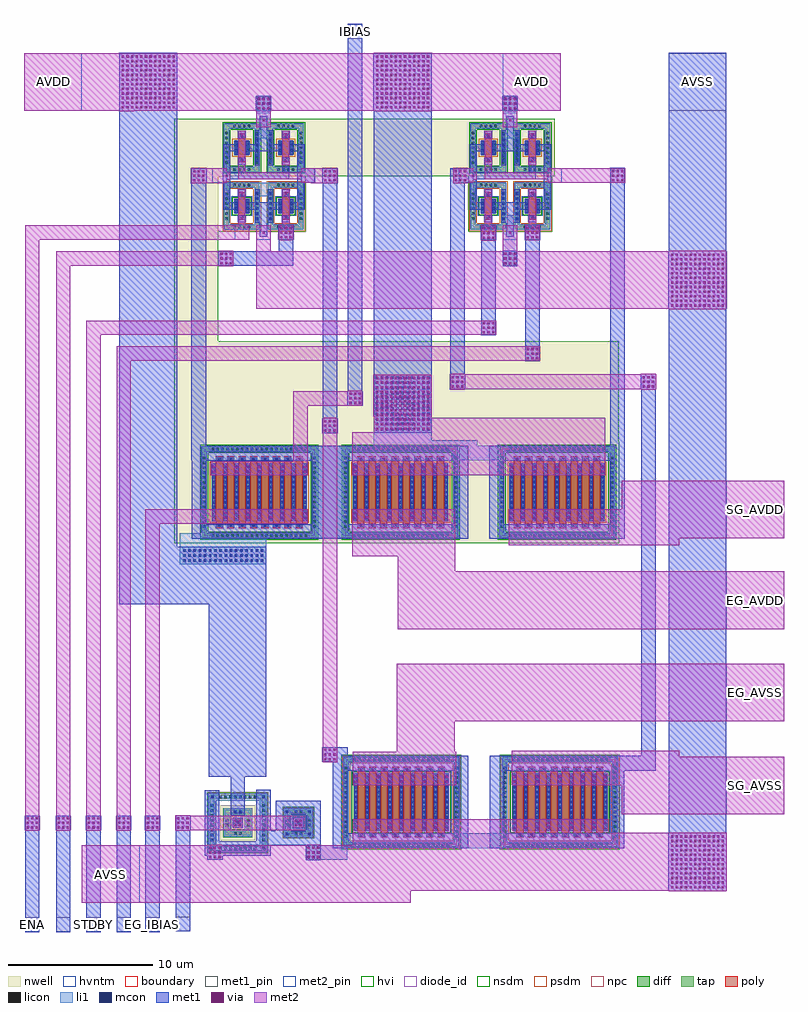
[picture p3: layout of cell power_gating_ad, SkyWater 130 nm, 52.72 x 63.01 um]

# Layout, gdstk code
import gdstk
lib = gdstk.Library(unit=1e-6, precision=1e-09)
def R(c, l, rs):  # rectangles x0, y0, x1, y1
    for r in rs: c.add(gdstk.rectangle(r[:2], r[2:], *l))
def A(c, l, x, y, w, h, nx, ny, dx, dy):  # array of equal rectangles
    R(c, l, [(x+i*dx, y+j*dy, x+i*dx+w, y+j*dy+h) for i in range(nx) for j in range(ny)])
nwell = (64, 20)
diff = (65, 20)
tap = (65, 44)
poly = (66, 20)
licon = (66, 44)
li1 = (67, 20)
mcon = (67, 44)
met1_pin = (68, 16)
met1 = (68, 20)
via = (68, 44)
met2_pin = (69, 16)
met2 = (69, 20)
hvi = (75, 20)
diode_id = (81, 23)
nsdm = (93, 44)
psdm = (94, 20)
npc = (95, 20)
hvntm = (125, 20)
boundary = (235, 4)

sky130_fd_pr__pfet_g5v0d = lib.new_cell('sky130_fd_pr__pfet_g5v0d10v5_KL7ZY6')
R(sky130_fd_pr__pfet_g5v0d, nwell, [(-4.305,-3.485,4.305,3.485)])
R(sky130_fd_pr__pfet_g5v0d, diff, [(-3.305,-2,3.305,2)])
R(sky130_fd_pr__pfet_g5v0d, tap, [(-3.975,-3.155,3.975,-2.865), (-3.975,-2.865,-3.685,2.865), (3.685,-2.865,3.975,2.865), (-3.975,2.865,3.975,3.155)])
A(sky130_fd_pr__pfet_g5v0d, poly, -3.015, -2.485, 0.5, 4.97, 8, 1, 0.79, 0)
A(sky130_fd_pr__pfet_g5v0d, licon, -3.315, -3.095, 0.17, 0.17, 20, 2, 0.34, 6.02)
A(sky130_fd_pr__pfet_g5v0d, licon, -3.915, -2.465, 0.17, 0.17, 1, 15, 0, 0.34)
A(sky130_fd_pr__pfet_g5v0d, licon, 3.745, -2.465, 0.17, 0.17, 1, 15, 0, 0.34)
A(sky130_fd_pr__pfet_g5v0d, licon, -2.85, -2.405, 0.17, 0.17, 8, 2, 0.79, 4.64)
A(sky130_fd_pr__pfet_g5v0d, licon, -3.245, -1.785, 0.17, 0.17, 9, 11, 0.79, 0.34)
A(sky130_fd_pr__pfet_g5v0d, li1, -3.015, -2.405, 0.5, 0.17, 8, 2, 0.79, 4.64)
A(sky130_fd_pr__pfet_g5v0d, li1, -3.245, -2.02, 0.17, 4.04, 9, 1, 0.79, 0)
R(sky130_fd_pr__pfet_g5v0d, li1, [(-3.915,-3.095,3.915,-2.925), (-3.915,-2.925,-3.745,2.925), (3.745,-2.925,3.915,2.925), (-3.915,2.925,3.915,3.095)])
A(sky130_fd_pr__pfet_g5v0d, mcon, -2.85, -2.405, 0.17, 0.17, 8, 2, 0.79, 4.64)
A(sky130_fd_pr__pfet_g5v0d, mcon, -3.245, -1.885, 0.17, 0.17, 9, 11, 0.79, 0.36)
A(sky130_fd_pr__pfet_g5v0d, met1, -2.995, -2.435, 0.46, 0.23, 8, 2, 0.79, 4.64)
A(sky130_fd_pr__pfet_g5v0d, met1, -3.275, -2, 0.23, 4, 9, 1, 0.79, 0)
R(sky130_fd_pr__pfet_g5v0d, hvi, [(-4.305,-3.485,4.305,3.485)])
R(sky130_fd_pr__pfet_g5v0d, nsdm, [(-4.1,-3.28,4.1,-2.74), (-4.1,-2.74,-3.56,2.74), (3.56,-2.74,4.1,2.74), (-4.1,2.74,4.1,3.28)])
R(sky130_fd_pr__pfet_g5v0d, psdm, [(-3.43,-2.125,3.43,2.125)])
A(sky130_fd_pr__pfet_g5v0d, npc, -2.95, -2.505, 0.37, 0.37, 8, 2, 0.79, 4.64)
R(sky130_fd_pr__pfet_g5v0d, boundary, [(-3.83,-3.01,3.83,3.01)])

sky130_fd_pr__nfet_g5v0d = lib.new_cell('sky130_fd_pr__nfet_g5v0d10v5_CPEQJZ')
R(sky130_fd_pr__nfet_g5v0d, diff, [(-3.305,-2,3.305,2)])
R(sky130_fd_pr__nfet_g5v0d, tap, [(-3.975,-3.11,3.975,-2.82), (-3.975,-2.82,-3.685,2.82), (3.685,-2.82,3.975,2.82), (-3.975,2.82,3.975,3.11)])
A(sky130_fd_pr__nfet_g5v0d, poly, -3.015, -2.44, 0.5, 4.88, 8, 1, 0.79, 0)
A(sky130_fd_pr__nfet_g5v0d, licon, -3.315, -3.05, 0.17, 0.17, 20, 2, 0.34, 5.93)
A(sky130_fd_pr__nfet_g5v0d, licon, -3.915, -2.465, 0.17, 0.17, 1, 15, 0, 0.34)
A(sky130_fd_pr__nfet_g5v0d, licon, 3.745, -2.465, 0.17, 0.17, 1, 15, 0, 0.34)
A(sky130_fd_pr__nfet_g5v0d, licon, -2.85, -2.36, 0.17, 0.17, 8, 2, 0.79, 4.55)
A(sky130_fd_pr__nfet_g5v0d, licon, -3.245, -1.785, 0.17, 0.17, 9, 11, 0.79, 0.34)
A(sky130_fd_pr__nfet_g5v0d, li1, -3.015, -2.36, 0.5, 0.17, 8, 2, 0.79, 4.55)
A(sky130_fd_pr__nfet_g5v0d, li1, -3.245, -2.02, 0.17, 4.04, 9, 1, 0.79, 0)
R(sky130_fd_pr__nfet_g5v0d, li1, [(-3.915,-3.05,3.915,-2.88), (-3.915,-2.88,-3.745,2.88), (3.745,-2.88,3.915,2.88), (-3.915,2.88,3.915,3.05)])
A(sky130_fd_pr__nfet_g5v0d, mcon, -2.85, -2.36, 0.17, 0.17, 8, 2, 0.79, 4.55)
A(sky130_fd_pr__nfet_g5v0d, mcon, -3.245, -1.885, 0.17, 0.17, 9, 11, 0.79, 0.36)
A(sky130_fd_pr__nfet_g5v0d, met1, -2.995, -2.39, 0.46, 0.23, 8, 2, 0.79, 4.55)
A(sky130_fd_pr__nfet_g5v0d, met1, -3.275, -2, 0.23, 4, 9, 1, 0.79, 0)
R(sky130_fd_pr__nfet_g5v0d, hvi, [(-4.16,-3.295,4.16,3.295)])
R(sky130_fd_pr__nfet_g5v0d, nsdm, [(-3.43,-2.125,3.43,2.125)])
R(sky130_fd_pr__nfet_g5v0d, psdm, [(-4.1,-3.235,4.1,-2.695), (-4.1,-2.695,-3.56,2.695), (3.56,-2.695,4.1,2.695), (-4.1,2.695,4.1,3.235)])
A(sky130_fd_pr__nfet_g5v0d, npc, -2.95, -2.46, 0.37, 0.37, 8, 2, 0.79, 4.55)
R(sky130_fd_pr__nfet_g5v0d, hvntm, [(-3.49,-2.185,3.49,2.185)])
R(sky130_fd_pr__nfet_g5v0d, boundary, [(-3.83,-2.965,3.83,2.965)])

sky130_fd_pr__diode_pw2n = lib.new_cell('sky130_fd_pr__diode_pw2nd_11v0_FT76RJ')
R(sky130_fd_pr__diode_pw2n, diff, [(-0.225,-0.225,0.225,0.225)])
R(sky130_fd_pr__diode_pw2n, tap, [(-0.905,-0.905,0.905,-0.615), (-0.905,-0.615,-0.615,0.615), (0.615,-0.615,0.905,0.615), (-0.905,0.615,0.905,0.905)])
R(sky130_fd_pr__diode_pw2n, licon, [(-0.255,-0.845,-0.085,-0.675), (0.085,-0.845,0.255,-0.675), (-0.845,-0.255,-0.675,-0.085), (0.675,-0.255,0.845,-0.085), (-0.085,-0.085,0.085,0.085), (-0.845,0.085,-0.675,0.255), (0.675,0.085,0.845,0.255), (-0.255,0.675,-0.085,0.845), (0.085,0.675,0.255,0.845)])
R(sky130_fd_pr__diode_pw2n, li1, [(-0.845,-0.845,0.845,-0.675), (-0.845,-0.675,-0.675,0.675), (0.675,-0.675,0.845,0.675), (-0.245,-0.165,0.245,0.165), (-0.845,0.675,0.845,0.845)])
R(sky130_fd_pr__diode_pw2n, mcon, [(-0.085,-0.085,0.085,0.085)])
R(sky130_fd_pr__diode_pw2n, met1, [(-0.225,-0.195,0.225,0.195)])
R(sky130_fd_pr__diode_pw2n, hvi, [(-1.09,-1.09,1.09,1.09)])
R(sky130_fd_pr__diode_pw2n, diode_id, [(-0.225,-0.225,0.225,0.225)])
R(sky130_fd_pr__diode_pw2n, nsdm, [(-0.35,-0.35,0.35,0.35)])
R(sky130_fd_pr__diode_pw2n, psdm, [(-1.03,-1.03,1.03,-0.49), (-1.03,-0.49,-0.49,0.49), (0.49,-0.49,1.03,0.49), (-1.03,0.49,1.03,1.03)])
R(sky130_fd_pr__diode_pw2n, hvntm, [(-0.41,-0.41,0.41,0.41)])
R(sky130_fd_pr__diode_pw2n, boundary, [(-0.76,-0.76,0.76,0.76)])

sky130_fd_pr__diode_pd2n = lib.new_cell('sky130_fd_pr__diode_pd2nw_11v0_K4SERG')
R(sky130_fd_pr__diode_pd2n, nwell, [(-1.215,-1.215,1.215,1.215)])
R(sky130_fd_pr__diode_pd2n, diff, [(-0.225,-0.225,0.225,0.225)])
R(sky130_fd_pr__diode_pd2n, tap, [(-1.935,-1.935,1.935,-1.645), (-1.935,-1.645,-1.645,1.645), (1.645,-1.645,1.935,1.645), (-0.885,-0.885,0.885,-0.595), (-0.885,-0.595,-0.595,0.595), (0.595,-0.595,0.885,0.595), (-0.885,0.595,0.885,0.885), (-1.935,1.645,1.935,1.935)])
A(sky130_fd_pr__diode_pd2n, licon, -1.275, -1.875, 0.17, 0.17, 8, 2, 0.34, 3.58)
A(sky130_fd_pr__diode_pd2n, licon, -1.875, -1.275, 0.17, 0.17, 1, 8, 0, 0.34)
A(sky130_fd_pr__diode_pd2n, licon, 1.705, -1.275, 0.17, 0.17, 1, 8, 0, 0.34)
R(sky130_fd_pr__diode_pd2n, licon, [(-0.255,-0.825,-0.085,-0.655), (0.085,-0.825,0.255,-0.655), (-0.825,-0.255,-0.655,-0.085), (0.655,-0.255,0.825,-0.085), (-0.085,-0.085,0.085,0.085), (-0.825,0.085,-0.655,0.255), (0.655,0.085,0.825,0.255), (-0.255,0.655,-0.085,0.825), (0.085,0.655,0.255,0.825)])
R(sky130_fd_pr__diode_pd2n, li1, [(-1.875,-1.875,1.875,-1.705), (-1.875,-1.705,-1.705,1.705), (1.705,-1.705,1.875,1.705), (-0.825,-0.825,0.825,-0.655), (-0.825,-0.655,-0.655,0.655), (0.655,-0.655,0.825,0.655), (-0.245,-0.165,0.245,0.165), (-0.825,0.655,0.825,0.825), (-1.875,1.705,1.875,1.875)])
R(sky130_fd_pr__diode_pd2n, mcon, [(-0.085,-0.085,0.085,0.085)])
R(sky130_fd_pr__diode_pd2n, met1, [(-0.225,-0.195,0.225,0.195)])
R(sky130_fd_pr__diode_pd2n, hvi, [(-2.12,-2.12,2.12,2.12)])
R(sky130_fd_pr__diode_pd2n, diode_id, [(-0.225,-0.225,0.225,0.225)])
R(sky130_fd_pr__diode_pd2n, nsdm, [(-1.01,-1.01,1.01,-0.47), (-1.01,-0.47,-0.47,0.47), (0.47,-0.47,1.01,0.47), (-1.01,0.47,1.01,1.01)])
R(sky130_fd_pr__diode_pd2n, psdm, [(-2.06,-2.06,2.06,-1.52), (-2.06,-1.52,-1.52,1.52), (1.52,-1.52,2.06,1.52), (-0.35,-0.35,0.35,0.35), (-2.06,1.52,2.06,2.06)])
R(sky130_fd_pr__diode_pd2n, boundary, [(-0.74,-0.74,0.74,0.74)])

c_sky130_fd_pr__pfet_g5v0d = lib.new_cell('sky130_fd_pr__pfet_g5v0d10v5_KLAZY6')
R(c_sky130_fd_pr__pfet_g5v0d, nwell, [(-1.54,-1.985,1.54,1.985)])
R(c_sky130_fd_pr__pfet_g5v0d, diff, [(-0.54,-0.5,0.54,0.5)])
R(c_sky130_fd_pr__pfet_g5v0d, tap, [(-1.21,-1.655,1.21,-1.365), (-1.21,-1.365,-0.92,1.365), (0.92,-1.365,1.21,1.365), (-1.21,1.365,1.21,1.655)])
R(c_sky130_fd_pr__pfet_g5v0d, poly, [(-0.25,-0.985,0.25,0.985)])
A(c_sky130_fd_pr__pfet_g5v0d, licon, -0.595, -1.595, 0.17, 0.17, 4, 2, 0.34, 3.02)
A(c_sky130_fd_pr__pfet_g5v0d, licon, -1.15, -1.105, 0.17, 0.17, 1, 7, 0, 0.34)
A(c_sky130_fd_pr__pfet_g5v0d, licon, 0.98, -1.105, 0.17, 0.17, 1, 7, 0, 0.34)
A(c_sky130_fd_pr__pfet_g5v0d, licon, -0.48, -0.425, 0.17, 0.17, 1, 3, 0, 0.34)
A(c_sky130_fd_pr__pfet_g5v0d, licon, 0.31, -0.425, 0.17, 0.17, 1, 3, 0, 0.34)
R(c_sky130_fd_pr__pfet_g5v0d, licon, [(-0.085,-0.905,0.085,-0.735), (-0.085,0.735,0.085,0.905)])
R(c_sky130_fd_pr__pfet_g5v0d, li1, [(-1.15,-1.595,1.15,-1.425), (-1.15,-1.425,-0.98,1.425), (0.98,-1.425,1.15,1.425), (-0.25,-0.905,0.25,-0.735), (-0.48,-0.52,-0.31,0.52), (0.31,-0.52,0.48,0.52), (-0.25,0.735,0.25,0.905), (-1.15,1.425,1.15,1.595)])
R(c_sky130_fd_pr__pfet_g5v0d, mcon, [(-0.085,-0.905,0.085,-0.735), (-0.48,-0.265,-0.31,-0.095), (0.31,-0.265,0.48,-0.095), (-0.48,0.095,-0.31,0.265), (0.31,0.095,0.48,0.265), (-0.085,0.735,0.085,0.905)])
R(c_sky130_fd_pr__pfet_g5v0d, met1, [(-0.23,-0.935,0.23,-0.705), (-0.51,-0.5,-0.28,0.5), (0.28,-0.5,0.51,0.5), (-0.23,0.705,0.23,0.935)])
R(c_sky130_fd_pr__pfet_g5v0d, hvi, [(-1.54,-1.985,1.54,1.985)])
R(c_sky130_fd_pr__pfet_g5v0d, nsdm, [(-1.335,-1.78,1.335,-1.24), (-1.335,-1.24,-0.795,1.24), (0.795,-1.24,1.335,1.24), (-1.335,1.24,1.335,1.78)])
R(c_sky130_fd_pr__pfet_g5v0d, psdm, [(-0.665,-0.625,0.665,0.625)])
R(c_sky130_fd_pr__pfet_g5v0d, npc, [(-0.185,-1.005,0.185,-0.635), (-0.185,0.635,0.185,1.005)])
R(c_sky130_fd_pr__pfet_g5v0d, boundary, [(-1.065,-1.51,1.065,1.51)])

c_sky130_fd_pr__nfet_g5v0d = lib.new_cell('sky130_fd_pr__nfet_g5v0d10v5_UNEQ2N')
R(c_sky130_fd_pr__nfet_g5v0d, diff, [(-0.54,-0.5,0.54,0.5)])
R(c_sky130_fd_pr__nfet_g5v0d, tap, [(-1.21,-1.61,1.21,-1.32), (-1.21,-1.32,-0.92,1.32), (0.92,-1.32,1.21,1.32), (-1.21,1.32,1.21,1.61)])
R(c_sky130_fd_pr__nfet_g5v0d, poly, [(-0.25,-0.94,0.25,0.94)])
A(c_sky130_fd_pr__nfet_g5v0d, licon, -0.595, -1.55, 0.17, 0.17, 4, 2, 0.34, 2.93)
A(c_sky130_fd_pr__nfet_g5v0d, licon, -1.15, -0.935, 0.17, 0.17, 1, 6, 0, 0.34)
A(c_sky130_fd_pr__nfet_g5v0d, licon, 0.98, -0.935, 0.17, 0.17, 1, 6, 0, 0.34)
A(c_sky130_fd_pr__nfet_g5v0d, licon, -0.48, -0.425, 0.17, 0.17, 1, 3, 0, 0.34)
A(c_sky130_fd_pr__nfet_g5v0d, licon, 0.31, -0.425, 0.17, 0.17, 1, 3, 0, 0.34)
R(c_sky130_fd_pr__nfet_g5v0d, licon, [(-0.085,-0.86,0.085,-0.69), (-0.085,0.69,0.085,0.86)])
R(c_sky130_fd_pr__nfet_g5v0d, li1, [(-1.15,-1.55,1.15,-1.38), (-1.15,-1.38,-0.98,1.38), (0.98,-1.38,1.15,1.38), (-0.25,-0.86,0.25,-0.69), (-0.48,-0.52,-0.31,0.52), (0.31,-0.52,0.48,0.52), (-0.25,0.69,0.25,0.86), (-1.15,1.38,1.15,1.55)])
R(c_sky130_fd_pr__nfet_g5v0d, mcon, [(-0.085,-0.86,0.085,-0.69), (-0.48,-0.265,-0.31,-0.095), (0.31,-0.265,0.48,-0.095), (-0.48,0.095,-0.31,0.265), (0.31,0.095,0.48,0.265), (-0.085,0.69,0.085,0.86)])
R(c_sky130_fd_pr__nfet_g5v0d, met1, [(-0.23,-0.89,0.23,-0.66), (-0.51,-0.5,-0.28,0.5), (0.28,-0.5,0.51,0.5), (-0.23,0.66,0.23,0.89)])
R(c_sky130_fd_pr__nfet_g5v0d, hvi, [(-1.395,-1.795,1.395,1.795)])
R(c_sky130_fd_pr__nfet_g5v0d, nsdm, [(-0.665,-0.625,0.665,0.625)])
R(c_sky130_fd_pr__nfet_g5v0d, psdm, [(-1.335,-1.735,1.335,-1.195), (-1.335,-1.195,-0.795,1.195), (0.795,-1.195,1.335,1.195), (-1.335,1.195,1.335,1.735)])
R(c_sky130_fd_pr__nfet_g5v0d, npc, [(-0.185,-0.96,0.185,-0.59), (-0.185,0.59,0.185,0.96)])
R(c_sky130_fd_pr__nfet_g5v0d, hvntm, [(-0.725,-0.685,0.725,0.685)])
R(c_sky130_fd_pr__nfet_g5v0d, boundary, [(-1.06,-1.46,1.06,1.46)])

level_shifter_ad = lib.new_cell('level_shifter_ad')
R(level_shifter_ad, li1, [(5.22,-9.16,7.66,-9.13), (8.27,-9.16,10.71,-9.13), (5.19,-9.13,7.69,-8.79), (8.24,-9.13,10.74,-8.79), (5.19,-8.79,5.56,-6.23), (7.32,-8.79,7.69,-6.23), (8.24,-8.79,8.61,-6.23), (10.37,-8.79,10.74,-6.23), (5.19,-6.23,7.69,-5.89), (8.24,-6.23,10.74,-5.89), (5.22,-5.89,7.66,-5.86), (8.27,-5.89,10.71,-5.86), (5.22,-5.16,7.66,-5.13), (8.27,-5.16,10.71,-5.13), (5.19,-5.13,7.69,-4.79), (8.24,-5.13,10.74,-4.79), (5.19,-4.79,5.56,-2.14), (7.32,-4.79,7.69,-2.14), (8.24,-4.79,8.61,-2.14), (10.37,-4.79,10.74,-2.14), (5.19,-2.14,7.69,-1.8), (8.24,-2.14,10.74,-1.8), (5.22,-1.8,7.66,-1.77), (8.27,-1.8,10.71,-1.77)])
A(level_shifter_ad, mcon, 7.42, -8.495, 0.17, 0.17, 1, 6, 0, 0.36)
A(level_shifter_ad, mcon, 8.34, -8.495, 0.17, 0.17, 1, 6, 0, 0.36)
A(level_shifter_ad, mcon, 7.42, -4.45, 0.17, 0.17, 1, 6, 0, 0.36)
A(level_shifter_ad, mcon, 8.34, -4.45, 0.17, 0.17, 1, 6, 0, 0.36)
R(level_shifter_ad, met1, [(7.7,-9.63,8.2,-8.68), (7.32,-8.68,8.61,-7.76), (6.16,-8.65,6.72,-8.15), (9.22,-8.65,9.78,-8.15), (5.15,-7.76,6.13,-7.26), (6.75,-7.76,9.18,-7.26), (9.77,-7.76,10.8,-7.26), (5.15,-7.26,5.65,-5.65), (7.32,-7.26,7.69,-6.34), (8.24,-7.26,8.61,-6.34), (10.3,-7.26,10.8,-3.715), (6.16,-6.85,6.72,-6.35), (9.21,-6.85,9.77,-6.35), (5.12,-5.65,9.74,-5.15), (5.15,-5.15,5.65,-3.715), (9.24,-5.15,9.74,-4.65), (7.32,-4.68,7.69,-3.715), (8.24,-4.68,8.61,-3.715), (6.16,-4.65,6.72,-4.15), (9.24,-4.65,9.77,-4.15), (9.24,-4.15,9.74,-4.12), (5.15,-3.715,6.13,-3.215), (6.75,-3.715,9.18,-3.215), (9.77,-3.715,10.8,-3.215), (7.32,-3.215,8.61,-2.25), (6.16,-2.8,6.72,-2.3), (9.21,-2.8,9.77,-2.3), (7.7,-2.25,8.2,-1.27)])
R(level_shifter_ad, via, [(7.875,-9.425,8.025,-9.275), (6.365,-8.475,6.515,-8.325), (9.425,-8.475,9.575,-8.325), (6.365,-6.675,6.515,-6.525), (9.415,-6.675,9.565,-6.525), (5.325,-5.475,5.475,-5.325), (10.475,-5.475,10.625,-5.325), (6.365,-4.475,6.515,-4.325), (9.415,-4.475,9.565,-4.325), (6.365,-2.625,6.515,-2.475), (9.415,-2.625,9.565,-2.475), (7.875,-1.625,8.025,-1.475)])
R(level_shifter_ad, met2_pin, [(5.95,-9.85,6.95,-8.85), (7.45,-9.85,8.45,-8.85), (9,-9.85,10,-8.85), (4.4,-5.9,5.4,-4.9), (10.55,-5.9,11.55,-4.9), (7.45,-2.05,8.45,-1.05)])
R(level_shifter_ad, met2, [(5.95,-9.85,6.95,-8.85), (7.45,-9.85,8.45,-8.85), (9,-9.85,10,-8.85), (6.19,-8.85,6.69,-6.32), (9.24,-8.85,9.75,-6.485), (9.24,-6.485,9.74,-6.32), (4.4,-5.9,5.4,-5.68), (10.55,-5.9,11.55,-5.65), (4.4,-5.68,5.65,-5.12), (6.19,-5.65,11.55,-5.15), (6.19,-5.15,6.69,-4.65), (10.55,-5.15,11.55,-4.9), (4.4,-5.12,5.4,-4.9), (9.24,-4.68,9.74,-4.65), (6.19,-4.65,6.7,-4.15), (9.21,-4.65,9.77,-4.15), (6.19,-4.15,6.69,-2.27), (9.24,-4.15,9.74,-2.27), (7.45,-2.05,8.45,-1.05)])
R(level_shifter_ad, hvi, [(7.835,-9.305,8.095,-5.715), (5.045,-5.715,10.885,-5.45)])
level_shifter_ad.add(gdstk.Reference(c_sky130_fd_pr__pfet_g5v0d, (6.44,-3.465)))
level_shifter_ad.add(gdstk.Reference(c_sky130_fd_pr__nfet_g5v0d, (6.44,-7.51)))
level_shifter_ad.add(gdstk.Reference(c_sky130_fd_pr__nfet_g5v0d, (9.49,-7.51)))
level_shifter_ad.add(gdstk.Reference(c_sky130_fd_pr__pfet_g5v0d, (9.49,-3.465)))
level_shifter_ad.add(gdstk.Label('AVDD', (7.95,-1.55), layer=69, texttype=5))
level_shifter_ad.add(gdstk.Label('LO_B', (9.5,-9.35), layer=69, texttype=5))
level_shifter_ad.add(gdstk.Label('LO', (6.45,-9.35), layer=69, texttype=5))
level_shifter_ad.add(gdstk.Label('HI', (11.05,-5.4), layer=69, texttype=5))
level_shifter_ad.add(gdstk.Label('AVSS', (7.95,-9.35), layer=69, texttype=5))
level_shifter_ad.add(gdstk.Label('HI_B', (4.9,-5.4), layer=69, texttype=5))

power_gating_ad = lib.new_cell('power_gating_ad')
R(power_gating_ad, nwell, [(2.45,-16.35,33.31,-9.3), (2.45,-9.3,33.3,-2.35), (2.45,-2.35,5.5,9.08), (2.45,9.08,5.75,9.15), (11.7,9.1,22.7,13.05), (28.8,9.1,28.85,13.05), (2.45,9.15,5.6,13.05), (2.45,13.05,28.85,13.1)])
R(power_gating_ad, li1, [(11.6,-38.3,14.45,-37.46), (4.825,-37.775,8.905,-37.25), (21.96,-37.5,25.46,-37.46), (11.6,-37.46,33.19,-37.43), (11.6,-37.43,33.22,-37.3), (14.19,-37.3,33.22,-37.09), (4.825,-37.25,5.35,-34.2), (8.4,-37.25,8.905,-34.2), (14.19,-37.09,14.56,-31.53), (21.85,-37.09,25.56,-36.475), (32.85,-37.09,33.22,-31.53), (10.05,-36.745,12.07,-36.245), (5.875,-36.725,7.855,-36.225), (21.85,-36.475,22.22,-31.53), (25.19,-36.475,25.56,-31.53), (10.05,-36.245,10.56,-35.225), (11.57,-36.245,12.07,-35.225), (5.875,-36.225,6.375,-35.245), (7.355,-36.225,7.855,-35.245), (5.875,-35.245,7.855,-34.745), (10.05,-35.225,12.07,-34.725), (4.825,-34.2,8.905,-33.695), (14.19,-31.53,22.22,-31.19), (25.19,-31.53,33.22,-31.19), (14.22,-31.19,22.19,-31.16), (25.22,-31.19,33.19,-31.16), (2.85,-17.8,8.85,-16.01), (2.85,-16.01,12.34,-16), (14.17,-16.01,22.14,-16), (25.02,-16.01,32.99,-15.98), (2.85,-16,22.14,-15.98), (2.85,-15.98,22.17,-15.65), (24.99,-15.98,33.02,-15.64), (4.34,-15.65,22.17,-15.64), (4.34,-15.64,4.71,-9.99), (12,-15.64,14.51,-9.99), (21.8,-15.64,22.17,-10.6), (24.99,-15.64,25.36,-10.6), (32.65,-15.64,33.02,-9.99), (21.8,-10.6,25.36,-9.99), (4.34,-9.99,33.02,-9.65), (4.37,-9.65,32.99,-9.62), (12.05,-9.62,14.41,-9.6), (15.8,-9.62,25.2,-9.6), (16.3,-9.6,23.46,-9.2), (16.3,-9.2,20.3,-8.4), (16.3,-8.4,20.27,-7.65), (16.33,-7.65,20.27,-4.68), (25.25,2.9,26.25,5.39), (5.92,5.39,8.36,5.42), (8.97,5.39,11.41,5.42), (23.02,5.39,28.51,5.42), (5.89,5.42,8.39,5.76), (8.94,5.42,11.44,5.76), (22.99,5.42,28.54,5.76), (5.89,5.76,6.26,8.32), (8.02,5.76,8.39,7.73), (8.94,5.76,9.31,7.73), (11.07,5.76,11.44,8.32), (22.99,5.76,23.36,8.32), (25.12,5.76,26.41,6.4), (28.17,5.76,28.54,8.32), (25.12,6.4,25.49,8.32), (26.04,6.4,26.41,8.32), (8.02,7.73,9.31,8.32), (5.89,8.32,11.44,8.66), (22.99,8.32,25.49,8.66), (26.04,8.32,28.54,8.66), (5.92,8.66,11.41,8.67), (23.02,8.66,25.46,8.69), (26.07,8.66,28.51,8.69), (5.92,8.67,8.36,8.69), (8.97,8.67,11.41,8.69), (5.92,9.39,8.36,9.42), (8.97,9.39,11.41,9.42), (23.02,9.39,25.46,9.42), (26.07,9.39,28.51,9.42), (5.89,9.42,8.39,9.76), (8.94,9.42,11.44,9.76), (22.99,9.42,25.49,9.76), (26.04,9.42,28.54,9.76), (5.89,9.76,6.26,12.41), (8.02,9.76,8.39,11.75), (8.94,9.76,9.31,11.75), (11.07,9.76,11.44,12.41), (22.99,9.76,23.36,12.41), (25.12,9.76,25.49,11.75), (26.04,9.76,26.41,11.75), (28.17,9.76,28.54,12.41), (8.02,11.75,9.31,12.41), (25.12,11.75,26.41,12.41), (5.89,12.41,11.44,12.75), (22.99,12.41,28.54,12.75), (5.92,12.75,11.41,12.78), (23.02,12.75,28.51,12.78), (8.15,12.78,9.15,14.65), (25.25,12.78,26.25,14.65)])
A(power_gating_ad, mcon, 11.655, -38.245, 0.17, 0.17, 3, 3, 0.36, 0.36)
A(power_gating_ad, mcon, 3.065, -17.645, 0.17, 0.17, 16, 3, 0.36, 0.36)
A(power_gating_ad, mcon, 16.415, -8.535, 0.17, 0.17, 11, 11, 0.36, 0.36)
A(power_gating_ad, mcon, 25.305, 2.955, 0.17, 0.17, 3, 3, 0.36, 0.36)
A(power_gating_ad, mcon, 8.205, 13.705, 0.17, 0.17, 3, 3, 0.36, 0.36)
A(power_gating_ad, mcon, 25.305, 13.705, 0.17, 0.17, 3, 3, 0.36, 0.36)
R(power_gating_ad, mcon, [(5.015,-37.585,5.185,-37.415), (8.565,-37.585,8.735,-37.415), (10.19,-36.61,10.36,-36.44), (11.74,-36.61,11.91,-36.44), (6.585,-35.06,6.755,-34.89), (6.945,-35.06,7.115,-34.89), (10.19,-35.06,10.36,-34.89), (11.74,-35.06,11.91,-34.89), (5.015,-34.035,5.185,-33.865), (8.565,-34.035,8.735,-33.865)])
A(power_gating_ad, met1_pin, -5.75, -43.3, 1, 1, 3, 1, 2.1, 0)
R(power_gating_ad, met1_pin, [(-7.9,-43.3,-6.9,-42.3), (0.45,-43.3,1.45,-42.3), (2.55,-43.25,3.55,-42.25), (36.75,13.65,40.75,17.65), (14.5,18.65,15.5,19.65)])
A(power_gating_ad, met1, -5.75, -43.33, 1, 7.08, 3, 1, 2.1, 0)
A(power_gating_ad, met1, 15.7, -36.3, 0.27, 0.82, 4, 1, 1.58, 0)
A(power_gating_ad, met1, 26.7, -36.3, 0.27, 0.82, 4, 1, 1.58, 0)
A(power_gating_ad, met1, -5.78, -36.25, 1.06, 1, 3, 1, 2.1, 0)
A(power_gating_ad, met1, 14.91, -33.14, 0.27, 0.82, 5, 1, 1.58, 0)
A(power_gating_ad, met1, 25.91, -33.14, 0.27, 0.82, 5, 1, 1.58, 0)
A(power_gating_ad, met1, 5.85, -14.805, 0.27, 0.82, 4, 1, 1.58, 0)
A(power_gating_ad, met1, 15.65, -14.805, 0.27, 0.82, 4, 1, 1.58, 0)
A(power_gating_ad, met1, 26.5, -14.805, 0.27, 0.82, 4, 1, 1.58, 0)
A(power_gating_ad, met1, 5.06, -11.645, 0.27, 0.82, 5, 1, 1.58, 0)
A(power_gating_ad, met1, 14.86, -11.645, 0.27, 0.82, 5, 1, 1.58, 0)
A(power_gating_ad, met1, 25.71, -11.645, 0.27, 0.82, 5, 1, 1.58, 0)
R(power_gating_ad, met1, [(-7.9,-43.33,-6.9,-36.25), (0.45,-43.33,1.45,-36.25), (2.55,-43.28,3.55,-36.25), (36.75,-40.48,40.75,-40.45), (36.72,-40.45,40.78,-36.45), (11.6,-38.33,12.6,-38.3), (4.74,-38.3,5.8,-38.025), (11.57,-38.3,12.63,-37.3), (4.575,-38.025,9.155,-37.3), (13.45,-37.5,22.86,-36.475), (24.35,-37.5,33.66,-36.475), (4.575,-37.3,12.6,-37.025), (4.575,-37.025,5.575,-33.5), (8.155,-37.025,12.6,-36.3), (13.45,-36.475,14.45,-32.125), (21.86,-36.475,22.86,-32.125), (24.35,-36.475,25.35,-32.125), (32.66,-36.475,33.66,-32.125), (36.75,-36.45,40.75,-0.1), (8.155,-36.3,9.155,-33.45), (9.5,-36.3,10.5,-35.2), (11.6,-36.3,12.6,-35.2), (-7.93,-36.25,-6.87,-35.25), (0.42,-36.25,1.48,-35.25), (2.55,-36.25,3.58,-35.25), (6.5,-36.1,7.2,-35.4), (10.7,-36.1,11.4,-35.4), (2.55,-35.25,3.55,-35.22), (6.355,-35.25,7.355,-32.55), (9.5,-35.2,12.6,-34.2), (4.85,-32.55,8.85,-20.6), (13.45,-32.125,22.86,-31.515), (24.35,-32.125,35.87,-31.1), (12.71,-31.515,22.86,-31.1), (12.71,-31.1,14.475,-30.49), (34.845,-31.1,35.87,-6.81), (-1.35,-20.6,8.85,-16.6), (-1.35,-16.6,2.65,13.65), (3.65,-16.05,22.86,-15.025), (24.3,-16.05,33.71,-15.025), (3.65,-15.025,4.675,-10.625), (12.035,-15.025,14.475,-10.625), (21.835,-15.025,22.86,-10.625), (24.3,-15.025,25.325,-10.625), (32.685,-15.025,33.71,-10.625), (3.65,-10.625,22.86,-10.61), (24.3,-10.625,33.71,-9.6), (3.64,-10.61,22.86,-9.6), (3.64,-9.6,4.665,8.635), (32.685,-9.6,33.71,9.51), (12.71,-8.715,13.795,-7.69), (16.3,-8.68,20.3,13.65), (12.74,-7.69,13.765,8.635), (34.835,-6.81,35.87,-5.665), (14.47,-6.8,15.53,-5.8), (14.5,-5.8,15.5,19.68), (21.56,-5.665,22.645,-4.64), (34.805,-5.665,35.89,-4.64), (21.59,-4.64,22.615,8.65), (34.845,-4.64,35.87,-4.61), (26.8,-3.73,27.8,4.7), (23.75,-1.93,24.75,4.67), (36.72,-0.1,40.78,3.9), (25.25,2.87,26.25,3.93), (5.52,2.9,10.7,3.9), (9.7,3.9,10.7,4.7), (36.75,3.9,40.75,17.68), (23.72,4.67,24.78,5.67), (9.67,4.7,10.73,5.7), (26.77,4.7,27.83,5.7), (3.61,8.635,4.695,9.66), (12.71,8.635,13.795,9.66), (11.5,8.65,12.2,9.65), (21.59,8.65,22.95,9.65), (32.71,9.51,33.71,9.68), (21.59,9.65,22.515,9.66), (8.15,13.62,9.15,13.65), (25.25,13.62,26.25,13.65), (-1.38,13.65,2.65,14.65), (8.12,13.65,9.18,14.65), (16.27,13.65,20.33,17.65), (25.22,13.65,26.28,14.65), (-1.35,14.65,2.65,17.68), (8.15,14.65,9.15,14.68), (25.25,14.65,26.25,14.68)])
A(power_gating_ad, via, 36.915, -40.285, 0.15, 0.15, 12, 12, 0.32, 0.32)
A(power_gating_ad, via, 4.875, -38.195, 0.15, 0.15, 3, 3, 0.32, 0.32)
A(power_gating_ad, via, 11.705, -38.195, 0.15, 0.15, 3, 3, 0.32, 0.32)
A(power_gating_ad, via, -7.795, -36.145, 0.15, 0.15, 3, 3, 0.32, 0.32)
A(power_gating_ad, via, -5.645, -36.145, 0.15, 0.15, 3, 3, 0.32, 0.32)
A(power_gating_ad, via, -3.545, -36.145, 0.15, 0.15, 3, 3, 0.32, 0.32)
A(power_gating_ad, via, -1.445, -36.145, 0.15, 0.15, 3, 3, 0.32, 0.32)
A(power_gating_ad, via, 0.555, -36.145, 0.15, 0.15, 3, 3, 0.32, 0.32)
A(power_gating_ad, via, 2.655, -36.145, 0.15, 0.15, 3, 3, 0.32, 0.32)
A(power_gating_ad, via, 15.76, -36.125, 0.15, 0.15, 4, 2, 1.58, 0.32)
A(power_gating_ad, via, 26.76, -36.125, 0.15, 0.15, 4, 2, 1.58, 0.32)
A(power_gating_ad, via, 14.97, -32.965, 0.15, 0.15, 5, 2, 1.58, 0.32)
A(power_gating_ad, via, 25.97, -32.965, 0.15, 0.15, 5, 2, 1.58, 0.32)
A(power_gating_ad, via, 12.855, -31.4, 0.15, 0.15, 3, 3, 0.32, 0.32)
A(power_gating_ad, via, 5.91, -14.63, 0.15, 0.15, 4, 2, 1.58, 0.32)
A(power_gating_ad, via, 15.71, -14.63, 0.15, 0.15, 4, 2, 1.58, 0.32)
A(power_gating_ad, via, 26.56, -14.63, 0.15, 0.15, 4, 2, 1.58, 0.32)
A(power_gating_ad, via, 5.12, -11.47, 0.15, 0.15, 5, 2, 1.58, 0.32)
A(power_gating_ad, via, 14.92, -11.47, 0.15, 0.15, 5, 2, 1.58, 0.32)
A(power_gating_ad, via, 25.77, -11.47, 0.15, 0.15, 5, 2, 1.58, 0.32)
A(power_gating_ad, via, 12.855, -8.6, 0.15, 0.15, 3, 3, 0.32, 0.32)
A(power_gating_ad, via, 16.465, -8.485, 0.15, 0.15, 12, 12, 0.32, 0.32)
A(power_gating_ad, via, 14.605, -6.695, 0.15, 0.15, 3, 3, 0.32, 0.32)
A(power_gating_ad, via, 21.705, -5.55, 0.15, 0.15, 3, 3, 0.32, 0.32)
A(power_gating_ad, via, 34.95, -5.55, 0.15, 0.15, 3, 3, 0.32, 0.32)
A(power_gating_ad, via, 26.905, -3.595, 0.15, 0.15, 3, 3, 0.32, 0.32)
A(power_gating_ad, via, 23.855, -1.795, 0.15, 0.15, 3, 3, 0.32, 0.32)
A(power_gating_ad, via, 36.915, 0.065, 0.15, 0.15, 12, 12, 0.32, 0.32)
A(power_gating_ad, via, 5.655, 3.005, 0.15, 0.15, 3, 3, 0.32, 0.32)
A(power_gating_ad, via, 25.355, 3.005, 0.15, 0.15, 3, 3, 0.32, 0.32)
A(power_gating_ad, via, 23.855, 4.775, 0.15, 0.15, 3, 3, 0.32, 0.32)
A(power_gating_ad, via, 9.805, 4.805, 0.15, 0.15, 3, 3, 0.32, 0.32)
A(power_gating_ad, via, 26.905, 4.805, 0.15, 0.15, 3, 3, 0.32, 0.32)
A(power_gating_ad, via, 3.755, 8.75, 0.15, 0.15, 3, 3, 0.32, 0.32)
A(power_gating_ad, via, 12.855, 8.75, 0.15, 0.15, 3, 3, 0.32, 0.32)
A(power_gating_ad, via, 21.905, 8.755, 0.15, 0.15, 3, 3, 0.32, 0.32)
A(power_gating_ad, via, 32.815, 8.755, 0.15, 0.15, 3, 3, 0.32, 0.32)
A(power_gating_ad, via, 8.255, 13.755, 0.15, 0.15, 3, 3, 0.32, 0.32)
A(power_gating_ad, via, 25.355, 13.755, 0.15, 0.15, 3, 3, 0.32, 0.32)
A(power_gating_ad, via, -1.185, 13.815, 0.15, 0.15, 12, 12, 0.32, 0.32)
A(power_gating_ad, via, 16.465, 13.815, 0.15, 0.15, 12, 12, 0.32, 0.32)
R(power_gating_ad, via, [(6.615,-35.985,6.765,-35.835), (6.935,-35.985,7.085,-35.835), (10.815,-35.985,10.965,-35.835), (11.135,-35.985,11.285,-35.835), (6.615,-35.665,6.765,-35.515), (6.935,-35.665,7.085,-35.515), (10.815,-35.665,10.965,-35.515), (11.135,-35.665,11.285,-35.515)])
R(power_gating_ad, met2_pin, [(-3.95,-41.3,0.05,-37.3), (40.75,-35.15,44.75,-31.15), (40.75,-28.7,44.75,-24.7), (40.75,-22.3,44.75,-18.3), (40.75,-16,44.75,-12), (-7.95,13.65,-3.95,17.65), (25.25,13.65,29.25,17.65)])
R(power_gating_ad, met2, [(-3.95,-41.3,18.85,-40.45), (36.75,-40.48,40.75,-40.45), (-3.95,-40.45,40.78,-37.3), (4.77,-37.3,5.77,-37.27), (11.6,-37.3,12.6,-37.27), (14.85,-37.3,40.78,-36.45), (14.85,-36.45,32.61,-35.5), (36.75,-36.45,40.75,-36.42), (-7.9,-36.28,-6.9,4.7), (-5.75,-36.28,-4.75,2.9), (-3.65,-36.28,-2.65,-1.9), (-1.55,-36.28,-0.55,-3.7), (0.45,-36.28,1.45,-15), (2.55,-36.28,3.55,-36.25), (2.52,-36.25,11.55,-35.25), (2.55,-35.25,3.55,-35.22), (6.355,-35.25,7.355,-35.245), (33.5,-35.15,44.75,-33.15), (14.85,-33.15,22.01,-30.8), (25.85,-33.15,44.75,-31.15), (12.74,-31.545,13.765,-7.66), (25.85,-31.15,37.5,-30.75), (17.9,-30.8,21.9,-28.7), (17.9,-28.7,44.75,-24.7), (17.95,-22.3,44.75,-18.3), (17.95,-18.3,21.96,-17.25), (14.8,-17.25,21.96,-14), (25.65,-16.5,37.5,-16), (25.65,-16,44.75,-14), (0.45,-15,11.71,-14), (33.5,-14,44.75,-12), (5,-11.65,11.71,-10.65), (14.8,-11.65,32.36,-8.65), (10.7,-10.65,11.7,-6.8), (16.3,-8.65,32.36,-7.65), (16.3,-7.65,20.33,-7.55), (16.27,-7.55,20.33,-4.65), (14.5,-6.83,15.5,-6.8), (10.7,-6.8,15.5,-5.8), (14.5,-5.8,15.5,-5.77), (21.59,-5.695,22.615,-5.665), (34.835,-5.695,35.86,-5.665), (21.59,-5.665,35.9,-4.64), (21.59,-4.64,22.615,-4.61), (34.835,-4.64,35.86,-4.61), (-1.55,-3.7,27.83,-2.7), (-3.65,-1.9,24.78,-0.9), (36.75,-0.13,40.75,-0.1), (8.15,-0.1,40.75,3.9), (5.55,2.87,6.55,2.9), (-5.75,2.9,6.55,3.9), (5.55,3.9,6.55,3.93), (8.15,3.9,9.15,5.6), (25.25,3.9,26.25,5.7), (36.75,3.9,40.75,3.93), (23.75,4.64,24.75,5.73), (9.7,4.67,10.7,5.73), (26.8,4.67,27.8,5.73), (-7.9,4.7,7.65,5.7), (3.64,8.605,4.665,8.635), (12.74,8.605,13.765,8.635), (21.8,8.62,22.8,8.65), (3.64,8.635,5.86,9.66), (11.94,8.635,13.765,8.65), (11.25,8.65,13.765,9.65), (21.8,8.65,23.2,9.65), (28.35,8.65,33.74,9.65), (11.94,9.65,13.765,9.66), (21.8,9.65,22.8,9.68), (3.64,9.66,4.665,9.69), (12.74,9.66,13.765,9.69), (8.15,12.5,9.15,13.65), (25.25,12.5,26.25,13.65), (-1.35,13.62,-0.35,13.65), (16.3,13.62,20.3,13.65), (-7.95,13.65,29.25,13.675), (-7.97,13.675,29.25,17.625), (-7.95,17.625,29.25,17.65), (16.3,17.65,20.3,17.68)])
R(power_gating_ad, hvi, [(2.45,-16.35,33.31,-16.3), (2.45,-16.3,4.05,-9.33), (12.66,-16.3,13.85,-9.33), (22.46,-16.3,24.7,-9.33), (2.45,-9.33,33.31,-9.3), (2.45,-9.3,33.3,-2.35), (2.45,-2.35,5.5,5.245), (2.45,5.245,5.745,9.1), (2.45,9.1,5.6,13.07), (11.73,9.1,22.7,13.07), (28.83,9.1,28.85,13.07), (2.45,13.07,28.85,13.1)])
power_gating_ad.add(gdstk.Reference(sky130_fd_pr__pfet_g5v0d, (18.155,-12.815)))
power_gating_ad.add(gdstk.Reference(sky130_fd_pr__pfet_g5v0d, (29.005,-12.815)))
power_gating_ad.add(gdstk.Reference(sky130_fd_pr__pfet_g5v0d, (8.355,-12.815)))
power_gating_ad.add(gdstk.Reference(sky130_fd_pr__nfet_g5v0d, (29.205,-34.31)))
power_gating_ad.add(gdstk.Reference(sky130_fd_pr__nfet_g5v0d, (18.205,-34.31)))
power_gating_ad.add(gdstk.Reference(sky130_fd_pr__diode_pw2n, (11.06,-35.735)))
power_gating_ad.add(gdstk.Reference(sky130_fd_pr__diode_pd2n, (6.865,-35.735)))
power_gating_ad.add(gdstk.Reference(level_shifter_ad, (17.8,14.55)))
power_gating_ad.add(gdstk.Reference(level_shifter_ad, (0.7,14.55)))
power_gating_ad.add(gdstk.Label('AVDD', (27.25,15.65), layer=69, texttype=5))
power_gating_ad.add(gdstk.Label('AVDD', (-5.95,15.65), layer=69, texttype=5))
power_gating_ad.add(gdstk.Label('AVSS', (-1.95,-39.3), layer=69, texttype=5))
power_gating_ad.add(gdstk.Label('AVSS', (38.75,15.65), layer=68, texttype=5))
power_gating_ad.add(gdstk.Label('ENA', (-7.4,-42.8), layer=68, texttype=5))
power_gating_ad.add(gdstk.Label('STDBY', (-3.15,-42.8), layer=68, texttype=5))
power_gating_ad.add(gdstk.Label('IBIAS', (15,19.15), layer=68, texttype=5))
power_gating_ad.add(gdstk.Label('EG_AVDD', (42.75,-20.3), layer=69, texttype=5))
power_gating_ad.add(gdstk.Label('EG_AVSS', (42.75,-26.7), layer=69, texttype=5))
power_gating_ad.add(gdstk.Label('SG_AVDD', (42.75,-14), layer=69, texttype=5))
power_gating_ad.add(gdstk.Label('SG_AVSS', (42.75,-33.15), layer=69, texttype=5))
power_gating_ad.add(gdstk.Label('EG_IBIAS', (0.95,-42.8), layer=68, texttype=5))
power_gating_ad.add(gdstk.Label('XIN', (3.05,-42.75), layer=68, texttype=5))
power_gating_ad.add(gdstk.Label('ENA_B', (-5.25,-42.8), layer=68, texttype=5))
power_gating_ad.add(gdstk.Label('STDBY_B', (-1.05,-42.8), layer=68, texttype=5))

lib.write_gds('power_gating_ad.gds')
